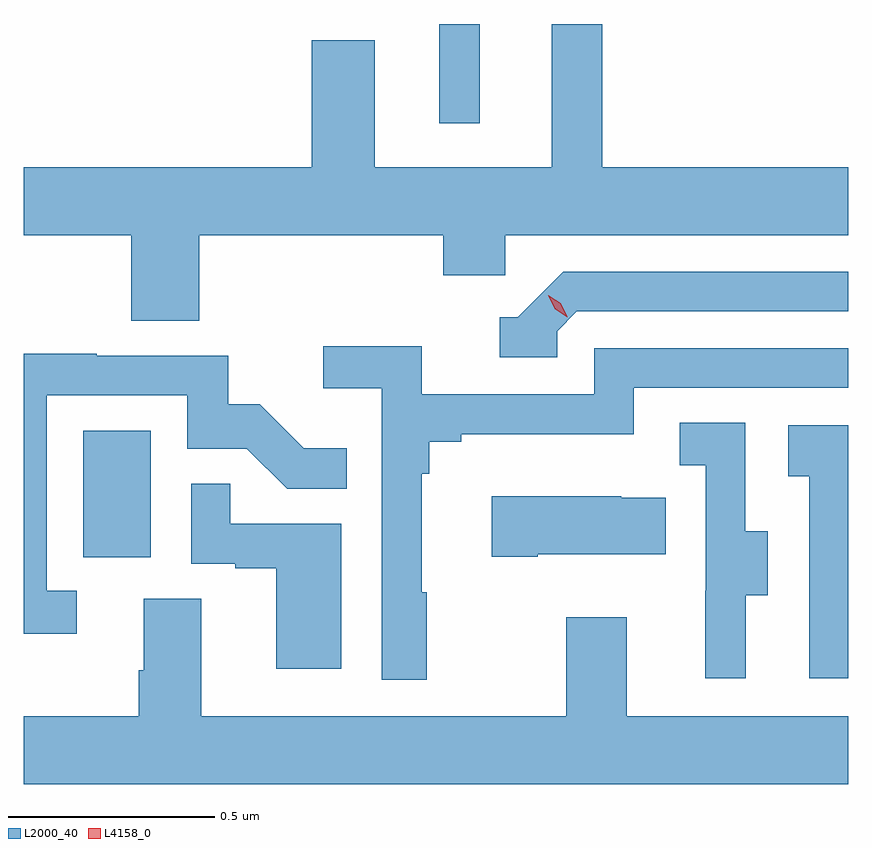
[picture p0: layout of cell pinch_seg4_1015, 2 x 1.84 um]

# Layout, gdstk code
import gdstk
lib = gdstk.Library(unit=1e-6, precision=1e-09)
def R(c, l, rs):  # rectangles x0, y0, x1, y1
    for r in rs: c.add(gdstk.rectangle(r[:2], r[2:], *l))
def P(c, l, *ps):  # polygons
    for p in ps: c.add(gdstk.Polygon(p, *l))
L2000_40 = (2000, 40)
L4158_0 = (4158, 0)

pinch_seg4_1015 = lib.new_cell('pinch_seg4_1015')
R(pinch_seg4_1015, L2000_40, [(850.412,782.718,850.576,783.025), (851.276,783.771,851.374,784.012)])
P(pinch_seg4_1015, L2000_40, [(850.694,783.5),(851.285,783.5),(851.285,783.402),(851.436,783.402),(851.436,783.5),(852.268,783.5),(852.268,783.664),(851.671,783.664),(851.671,784.012),(851.549,784.012),(851.549,783.664),(851.119,783.664),(851.119,783.973),(850.967,783.973),(850.967,783.664),(850.268,783.664),(850.268,783.5),(850.529,783.5),(850.529,783.292),(850.694,783.292)],
  [(851.562,783.267),(851.61,783.315),(852.268,783.315),(852.268,783.411),(851.577,783.411),(851.466,783.3),(851.423,783.3),(851.423,783.204),(851.562,783.204)],
  [(851.245,782.633),(851.233,782.633),(851.233,782.921),(851.252,782.921),(851.252,782.998),(851.329,782.998),(851.329,783.017),(851.748,783.017),(851.748,783.129),(852.268,783.129),(852.268,783.225),(851.652,783.225),(851.652,783.114),(851.234,783.114),(851.234,783.23),(850.995,783.23),(850.995,783.128),(851.136,783.128),(851.136,782.421),(851.245,782.421)],
  [(850.396,782.637),(850.323,782.637),(850.323,783.111),(850.665,783.111),(850.665,782.982),(850.809,782.982),(850.907,782.884),(851.051,782.884),(851.051,782.983),(850.947,782.983),(850.84,783.09),(850.764,783.09),(850.764,783.207),(850.445,783.207),(850.445,783.212),(850.268,783.212),(850.268,782.532),(850.396,782.532)],
  [(852.019,782.626),(852.073,782.626),(852.073,782.781),(852.018,782.781),(852.018,783.044),(851.859,783.044),(851.859,782.941),(851.922,782.941),(851.922,782.637),(851.921,782.637),(851.921,782.424),(852.019,782.424)],
  [(852.268,783.039),(852.123,783.039),(852.123,782.915),(852.174,782.915),(852.174,782.424),(852.268,782.424)],
  [(851.038,782.799),(850.769,782.799),(850.769,782.897),(850.674,782.897),(850.674,782.703),(850.781,782.703),(850.781,782.691),(850.88,782.691),(850.88,782.448),(851.038,782.448)],
  [(851.515,782.726),(851.825,782.726),(851.825,782.863),(851.717,782.863),(851.717,782.866),(851.403,782.866),(851.403,782.719),(851.515,782.719)],
  [(852.268,782.332),(851.731,782.332),(851.731,782.572),(851.584,782.572),(851.584,782.332),(850.699,782.332),(850.699,782.618),(850.559,782.618),(850.559,782.444),(850.547,782.444),(850.547,782.332),(850.268,782.332),(850.268,782.168),(852.268,782.168)])
P(pinch_seg4_1015, L4158_0, [(851.586,783.301),(851.556,783.321),(851.54,783.354),(851.54,783.354),(851.54,783.354),(851.571,783.334),(851.586,783.302),(851.586,783.301)])

lib.write_gds('pinch_seg4_1015.gds')
